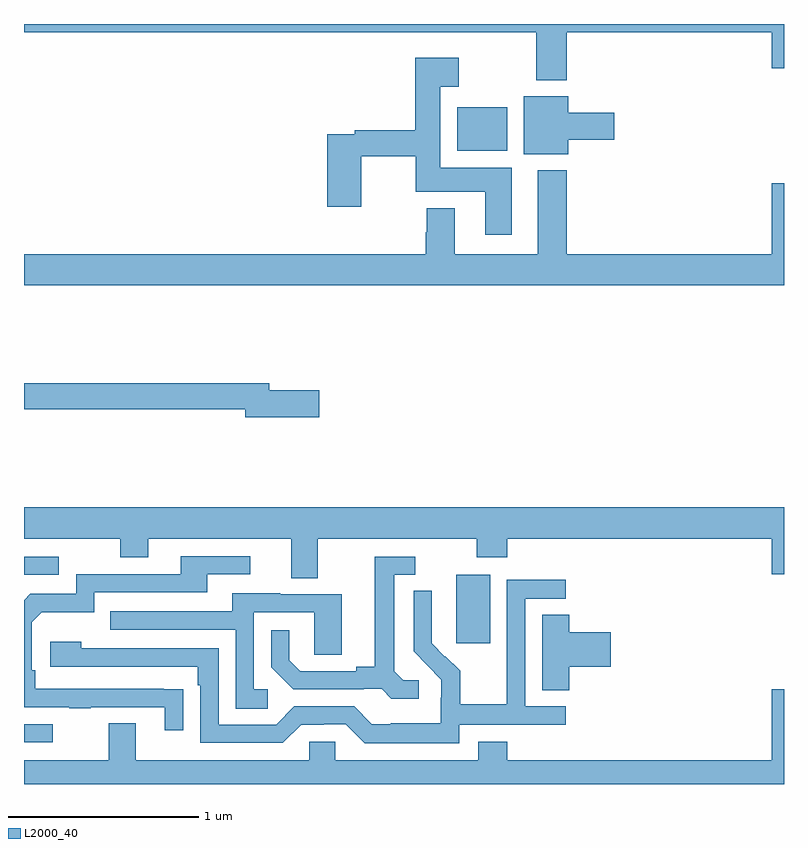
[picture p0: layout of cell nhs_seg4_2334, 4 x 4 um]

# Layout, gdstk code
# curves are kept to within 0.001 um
import gdstk
lib = gdstk.Library(unit=1e-6, precision=1e-09)
def R(c, l, rs):  # rectangles x0, y0, x1, y1
    for r in rs: c.add(gdstk.rectangle(r[:2], r[2:], *l))
def P(c, l, *ps):  # polygons
    for p in ps: c.add(gdstk.Polygon(p, *l))
L2000_40 = (2000, 40)

nhs_seg4_2334 = lib.new_cell('nhs_seg4_2334')
R(nhs_seg4_2334, L2000_40, [(233,757.119,233.152,757.215), (235.274,757.641,235.453,758.002), (233,758.001,233.182,758.097), (235.28,760.232,235.543,760.462)])
P(nhs_seg4_2334, L2000_40, [(233,760.856),(235.696,760.856),(235.696,760.604),(235.856,760.604),(235.856,760.856),(236.936,760.856),(236.936,760.668),(237,760.668),(237,760.9),(233,760.9)],
  [(235.567,760.144),(235.192,760.144),(235.192,760.571),(235.288,760.571),(235.288,760.723),(235.058,760.723),(235.058,760.34),(234.742,760.34),(234.742,760.32),(234.596,760.32),(234.596,759.939),(234.774,759.939),(234.774,760.204),(235.063,760.204),(235.063,760.016),(235.427,760.016),(235.427,759.792),(235.567,759.792)],
  [(235.864,760.292),(236.107,760.292),(236.107,760.434),(235.864,760.434),(235.864,760.519),(235.631,760.519),(235.631,760.214),(235.864,760.214)],
  [(237,760.063),(236.936,760.063),(236.936,759.688),(235.856,759.688),(235.856,760.129),(235.703,760.129),(235.703,759.688),(235.267,759.688),(235.267,759.931),(235.12,759.931),(235.12,759.804),(235.115,759.804),(235.115,759.688),(233,759.688),(233,759.524),(237,759.524)],
  [(234.553,758.972),(234.292,758.972),(234.292,759.008),(233,759.008),(233,758.872),(234.164,758.872),(234.164,758.83),(234.553,758.83)],
  [(234.547,758.192),(235.384,758.192),(235.384,758.093),(235.544,758.093),(235.544,758.192),(236.936,758.192),(236.936,758.004),(237,758.004),(237,758.356),(233,758.356),(233,758.192),(233.506,758.192),(233.506,758.093),(233.653,758.093),(233.653,758.192),(234.407,758.192),(234.407,757.984),(234.547,757.984)],
  [(233.837,757.4),(233.06,757.401),(233.06,757.498),(233.04,757.498),(233.04,757.752),(233.093,757.805),(233.37,757.805),(233.37,757.908),(233.965,757.908),(233.965,758.004),(234.19,758.004),(234.19,758.1),(233.825,758.1),(233.825,758.004),(233.274,758.004),(233.274,757.902),(233.034,757.902),(233,757.868),(233,757.305),(233.239,757.305),(233.239,757.3),(233.351,757.3),(233.351,757.305),(233.741,757.305),(233.741,757.182),(233.837,757.182)],
  [(235.078,757.446),(234.996,757.446),(234.949,757.493),(234.949,758.001),(235.06,758.001),(235.06,758.097),(234.845,758.097),(234.845,757.517),(234.749,757.517),(234.749,757.494),(234.454,757.494),(234.397,757.551),(234.397,757.708),(234.3,757.708),(234.3,757.514),(234.416,757.398),(234.788,757.398),(234.788,757.401),(234.882,757.401),(234.934,757.349),(235.078,757.349)],
  [(235.29,757.212),(235.852,757.212),(235.852,757.308),(235.638,757.308),(235.638,757.875),(235.852,757.875),(235.852,757.974),(235.542,757.974),(235.542,757.544),(235.54,757.544),(235.54,757.321),(235.295,757.321),(235.295,757.495),(235.218,757.572),(235.215,757.569),(235.145,757.64),(235.146,757.916),(235.05,757.916),(235.05,757.598),(235.196,757.45),(235.196,757.353),(235.194,757.353),(235.194,757.219),(234.931,757.219),(234.931,757.215),(234.831,757.215),(234.738,757.308),(234.423,757.308),(234.327,757.212),(234.024,757.212),(234.024,757.614),(233.3,757.614),(233.3,757.648),(233.139,757.648),(233.139,757.518),(233.915,757.518),(233.915,757.421),(233.928,757.421),(233.928,757.116),(234.363,757.116),(234.459,757.212),(234.578,757.212),(234.578,757.215),(234.693,757.215),(234.793,757.115),(235.29,757.115)],
  [(234.283,757.398),(234.21,757.398),(234.21,757.803),(234.528,757.803),(234.528,757.579),(234.673,757.579),(234.673,757.899),(234.349,757.899),(234.349,757.903),(234.095,757.903),(234.095,757.809),(233.455,757.809),(233.455,757.713),(234.114,757.713),(234.114,757.297),(234.283,757.297)],
  [(235.871,757.517),(236.089,757.517),(236.089,757.7),(235.871,757.7),(235.871,757.79),(235.727,757.79),(235.727,757.393),(235.871,757.393)],
  [(237,757.399),(236.936,757.399),(236.936,757.024),(235.544,757.024),(235.544,757.123),(235.391,757.123),(235.391,757.024),(234.639,757.024),(234.639,757.122),(234.501,757.122),(234.501,757.024),(233.587,757.024),(233.587,757.219),(233.447,757.219),(233.447,757.024),(233,757.024),(233,756.9),(237,756.9)])

lib.write_gds('nhs_seg4_2334.gds')
